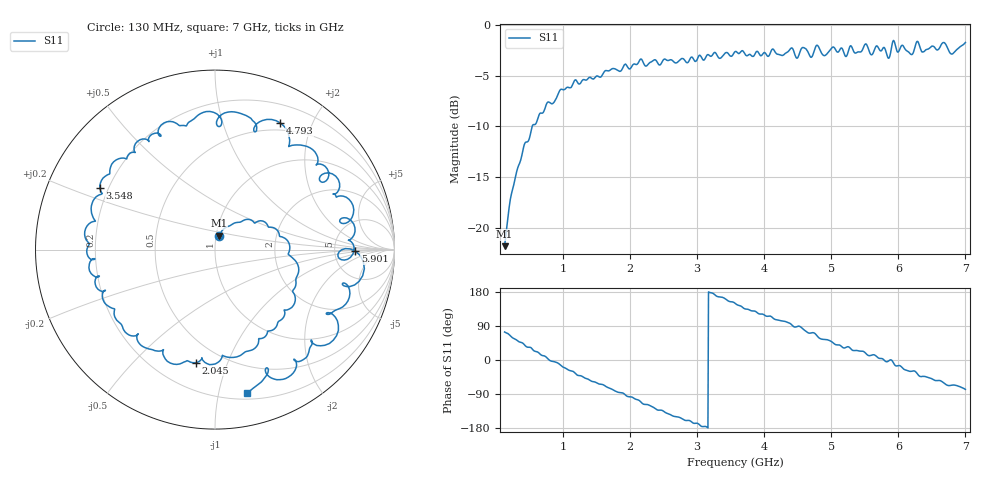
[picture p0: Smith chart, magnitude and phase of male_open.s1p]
# Hz S RI R 50.000000
! Metas.Vna.Tools, 2.8.8664.20301
! Metas.Vna.Data, 2.8.8664.20285
! Created: UTC 2024.02.09 20:24:06
! FREQ  re:S1,1  im:S1,1
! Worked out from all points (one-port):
!   801 points, 130 MHz to 7 GHz, reference 50 ohm
!   lowest |S11| = -21.8 dB at 130 MHz (marker M1), VSWR 1.18, Z = 51.7 + j8.1 ohm
!   |S11| at or under -10 dB: start of sweep to 540.7 MHz
!   S11 on the Smith chart (normalised r, x): 130 MHz: 1.03, +0.16; 2.045 GHz: 0.37, -0.78; 3.548 GHz: 0.17, +0.24; 4.793 GHz: 0.41, +1.56; 5.901 GHz: 8.14, -0.34; 7 GHz: 0.25, -1.21
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1.3e8  0.0224 0.0779
2.416375e8  0.0767 0.1308
4.21975e8  0.1936 0.1675
6.366625e8  0.3357 0.1176
9.8875e8  0.4591 -0.1438
1.409538e9  0.32 -0.4487
1.8475e9  0.042 -0.5889
2.045012e9  -0.1044 -0.6291
2.379925e9  -0.4212 -0.5241
2.70625e9  -0.566 -0.3285
3.247262e9  -0.7234 0.0676
3.547825e9  -0.6407 0.3417
3.565e9  -0.6382 0.3712
3.9085e9  -0.4025 0.6164
4.42375e9  -0.00781 0.765
4.535388e9  0.0221 0.7392
4.793012e9  0.3627 0.7061
4.8703e9  0.4134 0.5833
5.2825e9  0.6729 0.4089
5.849275e9  0.6855 -0.0388
5.9008e9  0.7814 -0.00812
5.960912e9  0.752 -0.2057
6.14125e9  0.6524 -0.351
6.270062e9  0.6876 -0.4502
6.34735e9  0.5346 -0.5116
6.69085e9  0.3783 -0.7228
6.819662e9  0.2951 -0.6629
7e9  0.1765 -0.8
